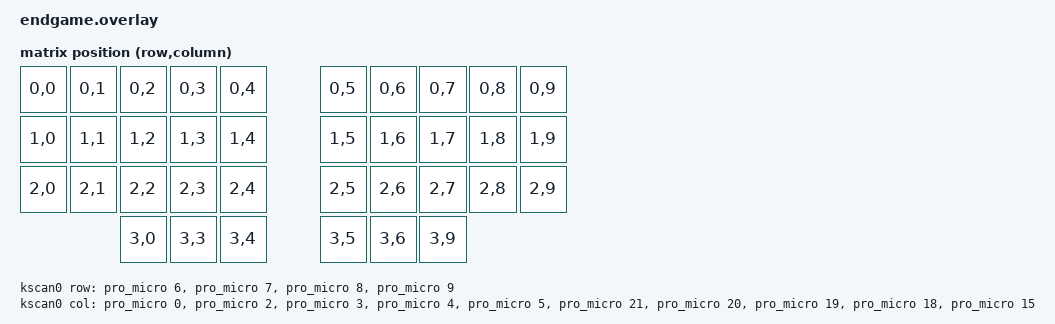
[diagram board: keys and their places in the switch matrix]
#include <dt-bindings/gpio/gpio.h>
#include <dt-bindings/led/led.h>
#include <dt-bindings/zmk/matrix_transform.h>

/* The stock nice!nano v2 ext-power node enables P0.13 at boot and saves its
 * state. Status pulses own this switched rail, so it must stay disabled. */
&{/EXT_POWER} {
    status = "disabled";
};

&gpio0 {
    led_vcc_off {
        gpio-hog;
        gpios = <13 GPIO_ACTIVE_HIGH>;
        output-low;
        line-name = "endgame-led-vcc-off";
    };

    led_din_low {
        gpio-hog;
        gpios = <6 GPIO_ACTIVE_HIGH>;
        output-low;
        line-name = "endgame-led-din-low";
    };
};

&pinctrl {
    endgame_spi3_default: endgame_spi3_default {
        group1 {
            psels = <NRF_PSEL(SPIM_MOSI, 0, 6)>;
        };
    };

    endgame_spi3_sleep: endgame_spi3_sleep {
        group1 {
            psels = <NRF_PSEL(SPIM_MOSI, 0, 6)>;
            low-power-enable;
        };
    };
};

&spi3 {
    compatible = "nordic,nrf-spim";
    status = "okay";
    pinctrl-0 = <&endgame_spi3_default>;
    pinctrl-1 = <&endgame_spi3_sleep>;
    pinctrl-names = "default", "sleep";

    status_pixel: ws2812@0 {
        compatible = "endgame,ws2812-v6-spi";
        reg = <0>;
        spi-max-frequency = <16000000>;
    };
};

/ {
    chosen {
        zmk,kscan = &kscan0;
        zmk,matrix_transform = &default_transform;
        zmk,battery = &vbatt;
    };

    default_transform: keymap_transform_0 {
        compatible = "zmk,matrix-transform";
        columns = <10>;
        rows = <4>;
        map = <
            RC(0, 0) RC(0, 1) RC(0, 2) RC(0, 3) RC(0, 4) RC(0, 5) RC(0, 6) RC(0, 7) RC(0, 8) RC(0, 9)
            RC(1, 0) RC(1, 1) RC(1, 2) RC(1, 3) RC(1, 4) RC(1, 5) RC(1, 6) RC(1, 7) RC(1, 8) RC(1, 9)
            RC(2, 0) RC(2, 1) RC(2, 2) RC(2, 3) RC(2, 4) RC(2, 5) RC(2, 6) RC(2, 7) RC(2, 8) RC(2, 9)
            RC(3, 0) RC(3, 3) RC(3, 4) RC(3, 5) RC(3, 6) RC(3, 9)
        >;
    };

    kscan0: kscan {
        compatible = "zmk,kscan-gpio-matrix";
        diode-direction = "col2row";
        wakeup-source;
        row-gpios =
            <&pro_micro 6 (GPIO_ACTIVE_HIGH | GPIO_PULL_DOWN)>,
            <&pro_micro 7 (GPIO_ACTIVE_HIGH | GPIO_PULL_DOWN)>,
            <&pro_micro 8 (GPIO_ACTIVE_HIGH | GPIO_PULL_DOWN)>,
            <&pro_micro 9 (GPIO_ACTIVE_HIGH | GPIO_PULL_DOWN)>;
        col-gpios =
            <&pro_micro 0 GPIO_ACTIVE_HIGH>,
            <&pro_micro 2 GPIO_ACTIVE_HIGH>,
            <&pro_micro 3 GPIO_ACTIVE_HIGH>,
            <&pro_micro 4 GPIO_ACTIVE_HIGH>,
            <&pro_micro 5 GPIO_ACTIVE_HIGH>,
            <&pro_micro 21 GPIO_ACTIVE_HIGH>,
            <&pro_micro 20 GPIO_ACTIVE_HIGH>,
            <&pro_micro 19 GPIO_ACTIVE_HIGH>,
            <&pro_micro 18 GPIO_ACTIVE_HIGH>,
            <&pro_micro 15 GPIO_ACTIVE_HIGH>;
    };

    behaviors {
        status_pulse: status_pulse {
            compatible = "zmk,behavior-endgame-status-pulse";
            #binding-cells = <0>;
        };
    };
};
